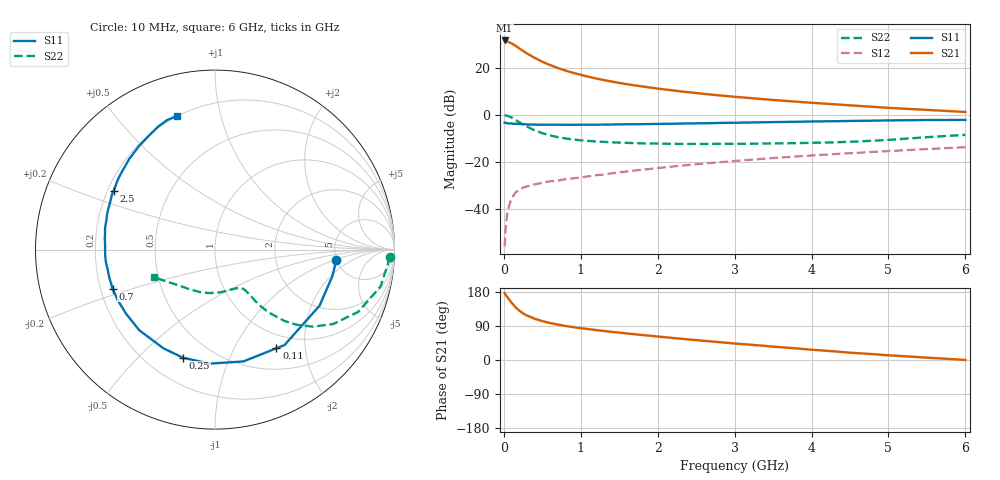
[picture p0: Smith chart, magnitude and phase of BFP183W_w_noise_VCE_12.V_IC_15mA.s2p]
! Infineon Technologies  Discrete & RF Semiconductors
! BFP183W
! VCE =  12. V,  IC =  15 mA
! Common Emitter S-Parameters:  Jan 2017
# GHz  S  MA  R  50
!  f  S11  S21  S12  S22
! GHz  MAG  ANG  MAG  ANG  MAG  ANG  MAG  ANG
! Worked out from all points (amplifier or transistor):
!   77 points, 10 MHz to 6 GHz, reference 50 ohm
!   highest |S21| = 31.5 dB at 10 MHz (marker M1)
!   |S21| within 3 dB of that: start of sweep to 184.8 MHz
!   unconditionally stable (mu >= 1): 1.439 GHz to 3.748 GHz
!   at 130 MHz: K = 0.20, MSG = 31.9 dB, |S12| = -34.1 dB
!   at 2.2 GHz: K = 1.06, MAG = 14.6 dB, |S12| = -22.0 dB
!   at 6 GHz: K = 0.86, MSG = 7.5 dB, |S12| = -13.8 dB
!   lowest NFmin = 1.05 dB at 450 MHz
!   S11 on the Smith chart (normalised r, x): 10 MHz: 5.01, -1.03; 110 MHz: 0.79, -1.50; 250 MHz: 0.35, -0.69; 700 MHz: 0.25, -0.17; 2.5 GHz: 0.22, +0.26; 6 GHz: 0.20, +0.74
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0.01  0.6788 -4.7  37.78 176.8  0.0016 59.2  0.9748 -2.4
0.02  0.6706 -12.7  37.35 173.1  0.0032 75.1  0.9655 -5.1
0.05  0.6611 -28.2  35.88 164.6  0.0087 76.4  0.9452 -12.5
0.1  0.6579 -53.9  32.88 151.0  0.0163 67.4  0.87 -23.5
0.11  0.6475 -58.1  32.06 148.9  0.0174 65.0  0.8502 -25.1
0.15  0.6429 -75.7  29.28 139.6  0.022 57.9  0.7782 -32.2
0.2  0.6361 -92.7  25.71 130.4  0.0249 52.5  0.6928 -38.3
0.25  0.628 -106.5  22.66 123.0  0.0281 48.3  0.6174 -42.7
0.3  0.6206 -117.5  20.02 117.3  0.0298 45.9  0.5545 -45.8
0.4  0.6164 -133.2  16.13 108.7  0.0329 43.7  0.4636 -49.4
0.5  0.6108 -144.3  13.33 102.5  0.0356 42.7  0.4041 -51.1
0.6  0.6108 -152.6  11.35 97.6  0.0384 42.2  0.3623 -52.0
0.7  0.6108 -159.2  9.828 93.5  0.0395 43.8  0.3323 -52.2
0.9  0.6081 -169.2  7.74 86.8  0.0441 45.2  0.2967 -53.0
1.1  0.6128 -176.7  6.397 81.5  0.0488 48.5  0.2762 -53.7
1.5  0.6193 171.5  4.729 72.2  0.0594 51.6  0.2544 -57.3
2.1  0.638 157.7  3.422 60.0  0.0761 53.8  0.241 -66.8
2.5  0.6534 149.9  2.88 52.5  0.0883 54.1  0.2384 -75.5
3.1  0.6768 139.7  2.324 42.0  0.1067 53.1  0.2403 -89.4
4.1  0.7186 125.0  1.745 25.7  0.1386 49.7  0.2536 -114.1
5.1  0.7571 114.0  1.368 11.2  0.1714 44.8  0.2986 -140.4
6  0.7744 105.9  1.14 0.1  0.2034 39.4  0.3722 -155.8
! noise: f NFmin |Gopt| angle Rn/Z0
0.45  1.05  0.15  158  0.1
0.9  1.09  0.21  163  0.09
1.9  1.56  0.39  -168  0.08
2.4  1.8  0.44  -161  0.11
